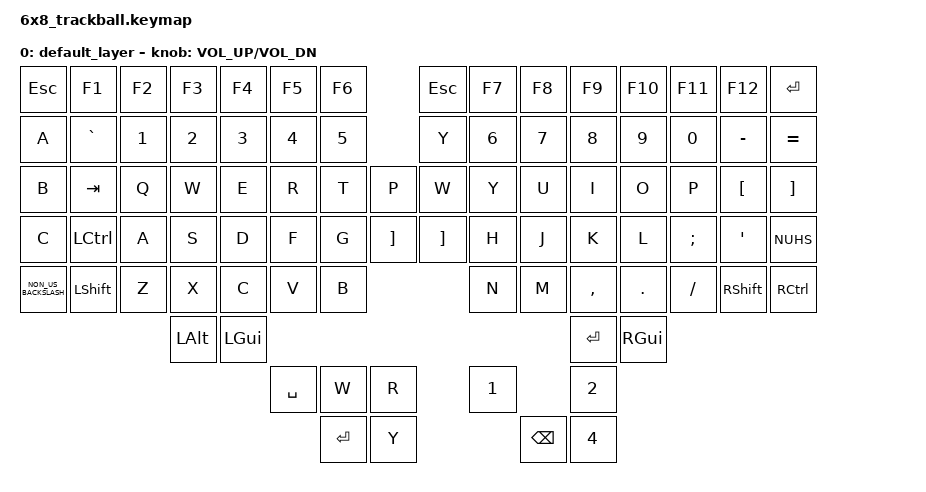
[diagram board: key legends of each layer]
#include <dt-bindings/zmk/keys.h>
#include <dt-bindings/zmk/bt.h>
#include <dt-bindings/zmk/ext_power.h>
#include <dt-bindings/zmk/pointing.h>
#include <behaviors.dtsi>
#include <6x8_trackball.dts>

//| SW7  | SW6  | SW5  | SW4  | SW3  | SW2  | SW1  |          | SW1  | SW2  | SW3  | SW4  | SW5  | SW6  | SW7  | SW8  |         
//| SW14 | SW13 | SW12 | SW11 | SW10 | SW9  | SW8  |          | SW9  | SW10 | SW11 | SW12 | SW13 | SW14 | SW15 | SW16 | 
//| SW22 | SW21 | SW20 | SW19 | SW18 | SW17 | SW16 | SW15 |   | SW17 | SW18 | SW19 | SW20 | SW21 | SW22 | SW23 | SW24 |         
//| SW30 | SW29 | SW28 | SW27 | SW26 | SW25 | SW24 | SW23 |   | SW25 | SW26 | SW27 | SW28 | SW29 | SW30 | SW31 | SW32 |         
//| SW37 | SW36 | SW35 | SW34 | SW33 | SW32 | SW31 |                 | SW33 | SW34 | SW35 | SW36 | SW37 | SW38 | SW39 |         
//                     | SW39 | SW38 |                                             | SW40 | SW41 |        
//                                    | SW42 | SW41 | SW40 |         | SW42 |      | SW43 |
//                                           | SW44 | SW43 |             | SW44 | SW45 |

/ {
    keymap {
        compatible = "zmk,keymap";

        default_layer {
// ------------------------------------------------------------------------------------------------------------
// |  ESC  |  F1   |  F2 |  F3 |  F4  |  F5  |  F6  |            |  ESC  | F7   |  F8   |  F9   | F10   |  F11  |  F12  | RET  |
// |  mac1 |  grv  |  1  |  2  |  3   |  4   |  5   |            |       |  6   |  7    |  8    |  9    |   0   |   -   |   +  |
// |  mac2 |  TAB  |  Q  |  W  |  E   |  R   |  T   |   {   |    |   }   |  Y   |  U    |  I    |  O    |   P   |   [   |   ]  |
// |  mac3 |  CTRL |  A  |  S  |  D   |  F   |  G   |   [   |    |   ]   |  H   |  J    |  K    |  L    |   ;   |   @   |   #  |
// |   |   | SHIFT |  Z  |  X  |  C   |  V   |  B   |                    |  N   |  M    |  ,    |  .    |   /   | SHIFT | RCTRL|
//                       | ALT | GUI  |                                                 | LAY2  | LAY3  | 
//                                    | SPACE | LOWER | LAY1 |           | LAY1 |       |  RET  |
//                                            | ENTER | RAISE|               | BSPC  |  BKSP |
//                                       

            bindings = <
&kp ESC              &kp F1    &kp F2 &kp F3   &kp F4   &kp F5    &kp F6           &kp ESC    &kp F7  &kp F8   &kp F9    &kp F10   &kp F11  &kp F12   &kp RET
&kp A                &kp GRAVE &kp N1 &kp N2   &kp N3   &kp N4    &kp N5           &kp Y      &kp N6  &kp N7   &kp N8    &kp N9    &kp N0   &kp MINUS &kp EQUAL
&kp B                &kp TAB   &kp Q  &kp W    &kp E    &kp R     &kp T   &kp P    &kp W      &kp Y   &kp U    &kp I     &kp O     &kp P    &kp LBKT  &kp RBKT
&kp C                &kp LCTRL &kp A  &kp S    &kp D    &kp F     &kp G   &kp RBKT &kp RBKT   &kp H   &kp J    &kp K     &kp L     &kp SEMI &kp SQT   &kp NUHS
&kp NON_US_BACKSLASH &kp LSHFT &kp Z  &kp X    &kp C    &kp V     &kp B                       &kp N   &kp M    &kp COMMA &kp DOT   &kp FSLH &kp RSHFT &kp RCTRL
                                      &kp LALT &kp LGUI                                                        &kp RET   &kp RGUI
                                                        &kp SPACE &kp W   &kp R               &kp N1           &kp N2
                                                                  &kp RET &kp Y                   &kp BSPC  &kp N4
            >;

            sensor-bindings = <&inc_dec_kp C_VOL_UP C_VOL_DN>;
        };
    };
};
